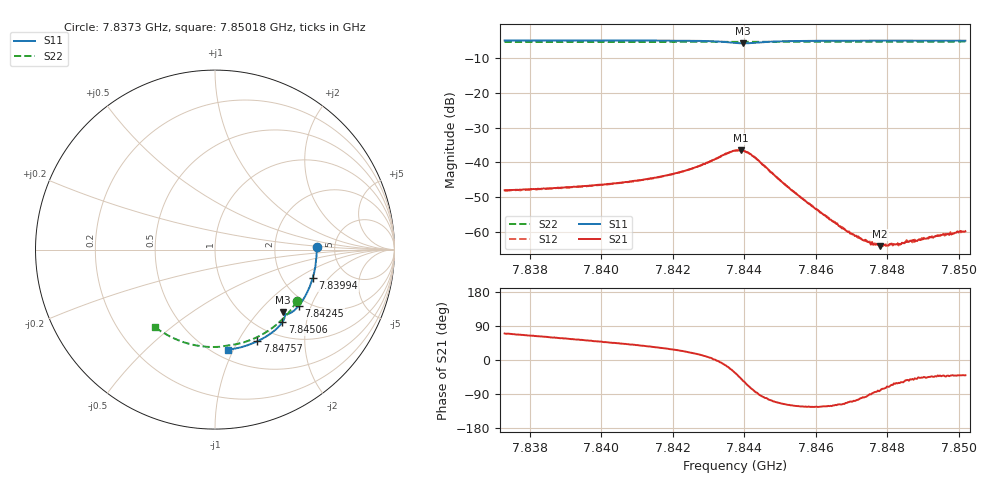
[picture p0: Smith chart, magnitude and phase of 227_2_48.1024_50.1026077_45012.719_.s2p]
#  HZ  S  RI  R  50.00
! Rohde & Schwarz Vector Network Analyzer
! Rohde-Schwarz,ZNB20-2Port,1311601062101988,3.16
! Created: UTC 12/23/2023, 3:57:23 AM
! freq[Hz]  re:S11  im:S11  re:S21  im:S21  re:S12  im:S12  re:S22  im:S22
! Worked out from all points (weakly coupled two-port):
!   401 points, 7.8373 GHz to 7.85018 GHz, reference 50 ohm
!   highest |S21| = -36.47 dB at 7.8439 GHz (marker M1); lowest = -64.1 dB at 7.8478 GHz (marker M2)
!   lowest |S11| = -5.8 dB at 7.84397 GHz (marker M3), VSWR 3.13, Z = 72.5 - j68.8 ohm
!   |S11| at or under -10 dB: nowhere
!   |S22| runs from -5.4 to -5.3 dB; largest |S21 - S12| = 0.00036
!   S11 on the Smith chart (normalised r, x): 7.8373 GHz: 3.60, +0.17; 7.83994 GHz: 2.92, -1.36; 7.84245 GHz: 1.78, -1.64; 7.84506 GHz: 1.25, -1.46; 7.84757 GHz: 0.81, -1.21; 7.85018 GHz: 0.58, -0.95
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7.837298e9  0.5661 0.0162  0.00136 0.00374  0.00137 0.00367  0.4565 -0.2878
7.839457e9  0.5526 -0.1267  0.00273 0.00364  0.00272 0.00358  0.3596 -0.4033
7.83994e9  0.5443 -0.1581  0.00316 0.00359  0.0031 0.00357  0.3337 -0.4252
7.841615e9  0.5001 -0.2639  0.00522 0.00333  0.00516 0.00332  0.2344 -0.4879
7.842452e9  0.4661 -0.3142  0.00741 0.00277  0.00737 0.00277  0.1801 -0.5106
7.843257e9  0.4178 -0.3545  0.0116 -0.000452  0.0116 -0.000479  0.1255 -0.5258
7.843741e9  0.3834 -0.3559  0.0123 -0.00821  0.0123 -0.00836  0.0931 -0.531
7.843902e9  0.3792 -0.3503  0.00994 -0.0113  0.00995 -0.0111  0.083 -0.5327
7.843966e9  0.3794 -0.3487  0.00837 -0.0121  0.00865 -0.0121  0.0789 -0.5332
7.844256e9  0.3868 -0.352  0.00217 -0.012  0.00223 -0.012  0.0604 -0.5366
7.845061e9  0.3751 -0.4048  -0.00222 -0.00469  -0.00221 -0.00473  0.00435 -0.5426
7.845899e9  0.3338 -0.4492  -0.00129 -0.00195  -0.00131 -0.00201  -0.0546 -0.5408
7.846897e9  0.2772 -0.4893  -0.000366 -0.000932  -0.000397 -0.000936  -0.124 -0.5299
7.847187e9  0.2602 -0.4988  -0.000219 -0.000836  -0.000191 -0.000798  -0.1439 -0.525
7.847574e9  0.2366 -0.5106  2.43e-05 -0.000718  2.97e-06 -0.000674  -0.17 -0.5175
7.847799e9  0.2228 -0.5168  0.000103 -0.000617  0.000128 -0.000644  -0.185 -0.5126
7.848057e9  0.2068 -0.5236  0.000226 -0.000627  0.000234 -0.0006  -0.2018 -0.506
7.848379e9  0.1867 -0.5312  0.000347 -0.000569  0.000383 -0.000551  -0.2229 -0.4977
7.84854e9  0.1765 -0.5346  0.000433 -0.000577  0.000432 -0.000629  -0.2331 -0.4929
7.848669e9  0.1682 -0.5374  0.000456 -0.000579  0.000478 -0.000584  -0.2413 -0.4891
7.849506e9  0.1142 -0.5511  0.000657 -0.000611  0.000719 -0.000622  -0.2927 -0.4606
7.850183e9  0.0697 -0.5582  0.000783 -0.000664  0.000794 -0.000653  -0.3318 -0.4339
